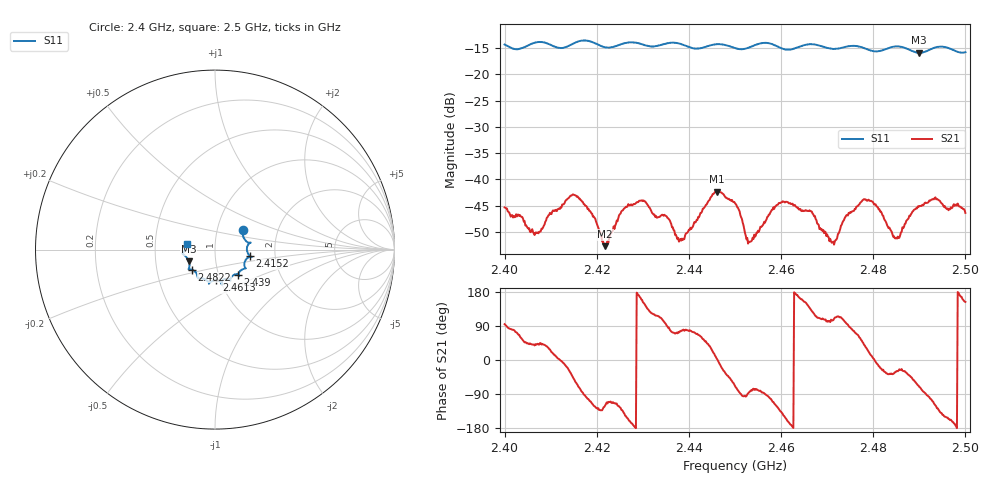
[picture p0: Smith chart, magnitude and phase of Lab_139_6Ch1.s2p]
# Hz S RI R 50
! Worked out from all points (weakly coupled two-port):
!   601 points, 2.4 GHz to 2.5 GHz, reference 50 ohm
!   highest |S21| = -42.30 dB at 2.446 GHz (marker M1); lowest = -52.7 dB at 2.4218 GHz (marker M2)
!   lowest |S11| = -15.9 dB at 2.4898 GHz (marker M3), VSWR 1.38, Z = 37 - j5.01 ohm
!   |S11| at or under -10 dB: start of sweep to end of sweep
!   S12 and S22 are empty: the file has one direction only
!   S11 on the Smith chart (normalised r, x): 2.4 GHz: 1.33, +0.31; 2.4152 GHz: 1.48, -0.11; 2.439 GHz: 1.24, -0.36; 2.4613 GHz: 0.96, -0.34; 2.4822 GHz: 0.76, -0.17; 2.5 GHz: 0.72, +0.05
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2.4e9  0.1561 0.1116  -0.00043 0.0054  0 0  0 0
2.406833e9  0.1976 0.0379  0.00239 0.00202  0 0  0 0
2.415167e9  0.195 -0.0362  0.00432 -0.00566  0 0  0 0
2.416667e9  0.2046 -0.0423  0.000836 -0.00625  0 0  0 0
2.421833e9  0.1711 -0.0576  -0.00115 -0.00201  0 0  0 0
2.426833e9  0.1715 -0.104  -0.00533 -0.00235  0 0  0 0
2.430167e9  0.1568 -0.1087  -0.0055 0.0031  0 0  0 0
2.433333e9  0.1326 -0.1323  -0.0019 0.00394  0 0  0 0
2.439e9  0.128 -0.1388  0.0006 0.00263  0 0  0 0
2.446e9  0.0853 -0.1733  0.00765 0.000561  0 0  0 0
2.45e9  0.0692 -0.1636  0.0022 -0.00553  0 0  0 0
2.453167e9  0.038 -0.1765  0.000253 -0.00253  0 0  0 0
2.461333e9  0.00776 -0.1711  -0.00574 -0.00209  0 0  0 0
2.466667e9  -0.0333 -0.1904  -0.00314 0.00383  0 0  0 0
2.471333e9  -0.0579 -0.164  -0.000676 0.00247  0 0  0 0
2.477833e9  -0.0969 -0.1503  0.00454 0.00453  0 0  0 0
2.482167e9  -0.1281 -0.1119  0.00407 -0.00196  0 0  0 0
2.483333e9  -0.1393 -0.1102  0.00273 -0.00209  0 0  0 0
2.485333e9  -0.1475 -0.1104  0.00249 -0.00142  0 0  0 0
2.489833e9  -0.146 -0.066  0.00206 -0.00507  0 0  0 0
2.4935e9  -0.1784 -0.0254  -0.00339 -0.00584  0 0  0 0
2.5e9  -0.1585 0.0336  -0.00429 0.00215  0 0  0 0
